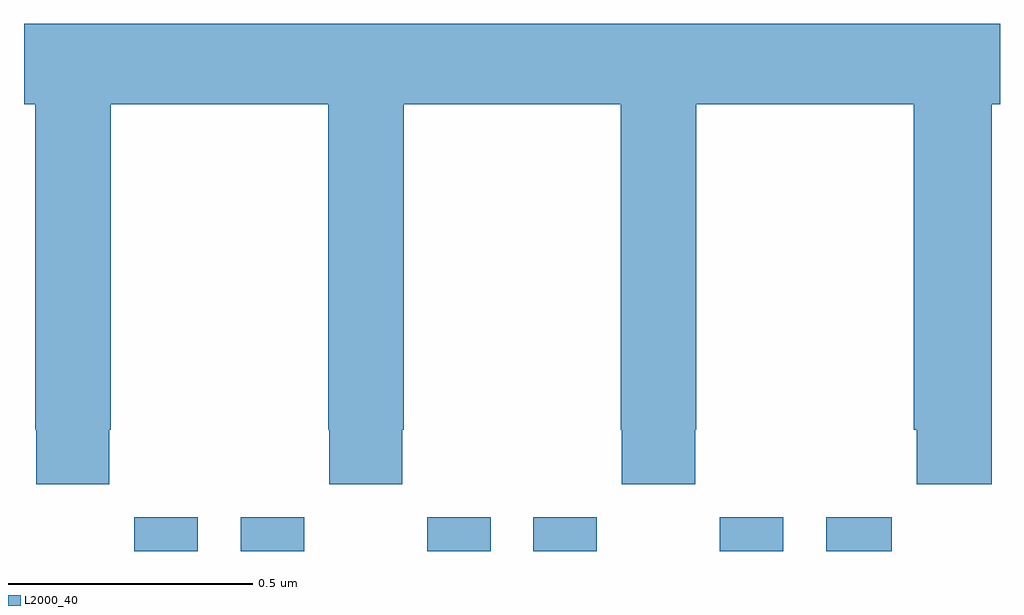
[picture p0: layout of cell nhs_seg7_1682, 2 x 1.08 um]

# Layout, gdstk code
import gdstk
lib = gdstk.Library(unit=1e-6, precision=1e-09)
def R(c, l, rs):  # rectangles x0, y0, x1, y1
    for r in rs: c.add(gdstk.rectangle(r[:2], r[2:], *l))
def P(c, l, *ps):  # polygons
    for p in ps: c.add(gdstk.Polygon(p, *l))
L2000_40 = (2000, 40)

nhs_seg7_1682 = lib.new_cell('nhs_seg7_1682')
R(nhs_seg7_1682, L2000_40, [(134.226,1033,134.356,1033.069), (134.444,1033,134.574,1033.069), (134.826,1033,134.956,1033.069), (135.044,1033,135.174,1033.069), (135.426,1033,135.556,1033.069), (135.644,1033,135.778,1033.069)])
P(nhs_seg7_1682, L2000_40, [(134.175,1033.249),(134.178,1033.249),(134.178,1033.916),(134.623,1033.916),(134.623,1033.249),(134.625,1033.249),(134.625,1033.137),(134.775,1033.137),(134.775,1033.249),(134.778,1033.249),(134.778,1033.916),(135.223,1033.916),(135.223,1033.249),(135.225,1033.249),(135.225,1033.137),(135.375,1033.137),(135.375,1033.249),(135.378,1033.249),(135.378,1033.916),(135.823,1033.916),(135.823,1033.249),(135.829,1033.249),(135.829,1033.137),(135.983,1033.137),(135.983,1033.916),(136,1033.916),(136,1034.08),(134,1034.08),(134,1033.916),(134.023,1033.916),(134.023,1033.249),(134.025,1033.249),(134.025,1033.137),(134.175,1033.137)])

lib.write_gds('nhs_seg7_1682.gds')
